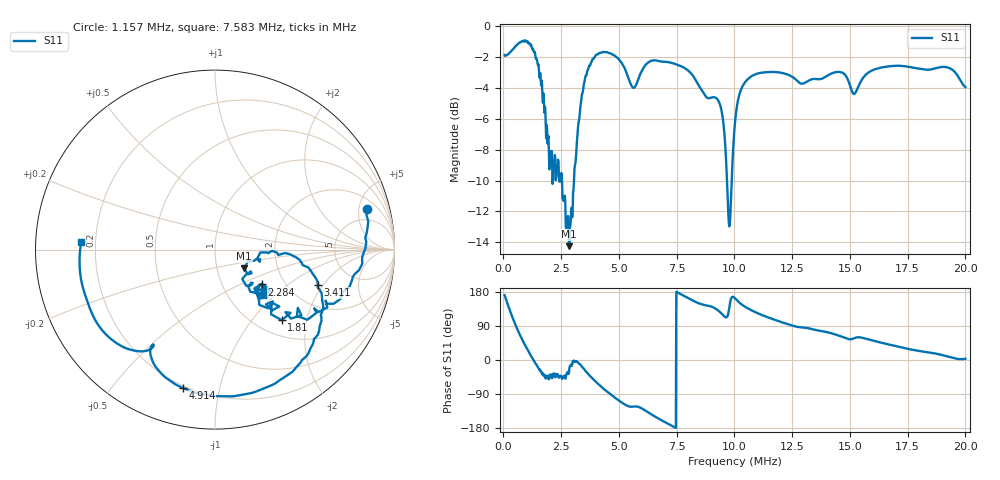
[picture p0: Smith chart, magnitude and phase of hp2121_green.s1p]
# Hz S RI R 50
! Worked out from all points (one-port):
!   1010 points, 50 kHz to 20 MHz, reference 50 ohm
!   lowest |S11| = -14.2 dB at 2.838 MHz (marker M1), VSWR 1.48, Z = 67.7 - j14.7 ohm
!   |S11| at or under -10 dB: 2.123 MHz to 2.137 MHz (13.97 kHz wide, 0.656 % of centre); 2.533 MHz to 3.055 MHz (522 kHz wide, 18.7 % of centre); 9.678 MHz to 9.883 MHz (204.8 kHz wide, 2.09 % of centre)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
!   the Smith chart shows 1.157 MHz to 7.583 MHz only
!   S11 on the Smith chart (normalised r, x): 1.157 MHz: 3.14, +6.05; 1.81 MHz: 1.29, -1.43; 2.284 MHz: 1.53, -0.66; 3.411 MHz: 2.86, -1.78; 4.914 MHz: 0.19, -0.78; 7.583 MHz: 0.15, +0.03
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50000  -0.7954 0.1253
346500  -0.4074 0.7241
564000  0.0543 0.8644
880400  0.6257 0.6414
1157200  0.846 0.2251
1513100  0.7006 -0.2737
1809700  0.3718 -0.3931
2284172  0.2601 -0.1943
2560972  0.1848 -0.2043
2837772  0.1632 -0.1049
3114572  0.3575 -0.0283
3411172  0.5732 -0.197
4122944  0.3514 -0.7345
4913844  -0.1803 -0.7703
5052244  -0.2537 -0.7282
6238616  -0.5575 -0.515
7543516  -0.7481 0.025
7583116  -0.7455 0.0415
9342788  -0.3496 0.4442
9678888  -0.1263 0.2891
9817288  -0.2128 0.1098
1.003486e7  -0.4722 0.1511
1.100366e7  -0.3874 0.585
1.252613e7  -0.00545 0.6836
1.50174e7  0.3689 0.5185
1.58873e7  0.4299 0.5696
1.750868e7  0.643 0.3632
1.999995e7  0.6334 0.0367
